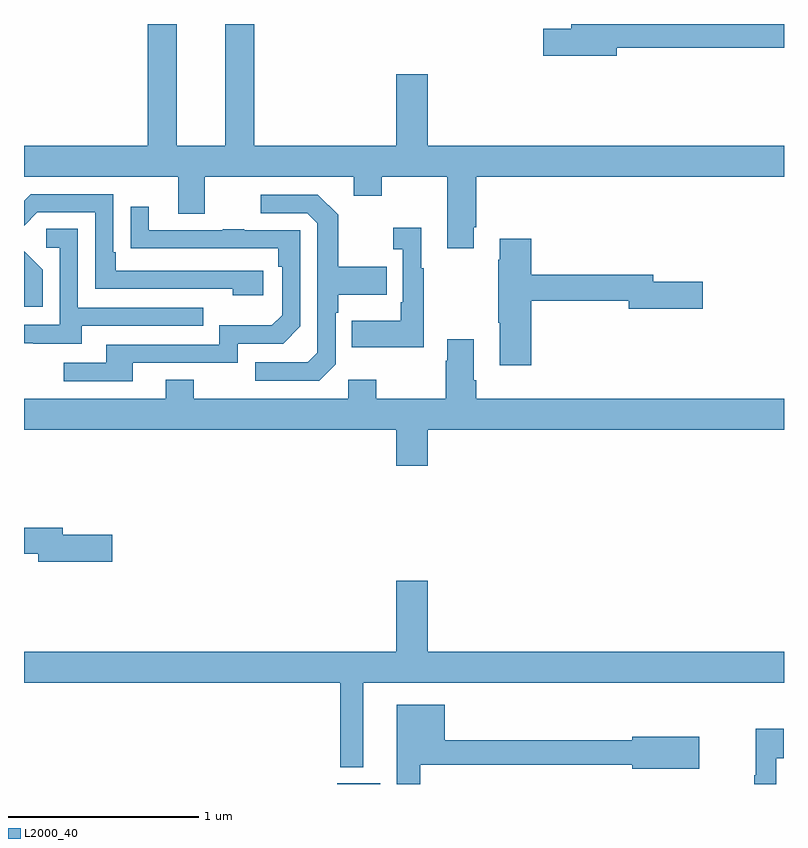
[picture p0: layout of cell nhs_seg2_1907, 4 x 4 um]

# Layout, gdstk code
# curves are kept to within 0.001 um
import gdstk
lib = gdstk.Library(unit=1e-6, precision=1e-09)
def R(c, l, rs):  # rectangles x0, y0, x1, y1
    for r in rs: c.add(gdstk.rectangle(r[:2], r[2:], *l))
def P(c, l, *ps):  # polygons
    for p in ps: c.add(gdstk.Polygon(p, *l))
L2000_40 = (2000, 40)

nhs_seg2_1907 = lib.new_cell('nhs_seg2_1907')
R(nhs_seg2_1907, L2000_40, [(212.648,617.8,212.875,617.803)])
P(nhs_seg2_1907, L2000_40, [(214.12,621.676),(215,621.676),(215,621.8),(213.881,621.8),(213.881,621.776),(213.732,621.776),(213.732,621.634),(214.12,621.634)],
  [(213.367,620.731),(213.38,620.731),(213.38,620.996),(215,620.996),(215,621.16),(213.124,621.16),(213.124,621.535),(212.96,621.535),(212.96,621.16),(212.213,621.16),(212.213,621.8),(212.06,621.8),(212.06,621.16),(211.804,621.16),(211.804,621.8),(211.652,621.8),(211.652,621.16),(211,621.16),(211,620.996),(211.811,620.996),(211.811,620.802),(211.951,620.802),(211.951,620.996),(212.735,620.996),(212.735,620.897),(212.883,620.897),(212.883,620.996),(213.227,620.996),(213.227,620.619),(213.367,620.619)],
  [(212.26,620.502),(211.483,620.502),(211.483,620.599),(211.47,620.599),(211.47,620.904),(211.035,620.904),(211,620.869),(211,620.737),(211.071,620.808),(211.374,620.808),(211.374,620.406),(212.099,620.406),(212.099,620.372),(212.26,620.372)],
  [(212.64,620.01),(212.64,620.279),(212.653,620.279),(212.653,620.375),(212.909,620.375),(212.909,620.523),(212.653,620.523),(212.653,620.795),(212.547,620.901),(212.247,620.901),(212.247,620.805),(212.49,620.805),(212.544,620.751),(212.544,620.07),(212.493,620.019),(212.217,620.019),(212.217,619.923),(212.553,619.923)],
  [(211.573,620.016),(212.124,620.016),(212.124,620.118),(212.364,620.118),(212.454,620.208),(212.454,620.715),(212.159,620.715),(212.159,620.72),(212.047,620.72),(212.047,620.715),(211.657,620.715),(211.657,620.839),(211.561,620.839),(211.561,620.62),(212.338,620.619),(212.338,620.522),(212.358,620.522),(212.358,620.268),(212.305,620.215),(212.028,620.215),(212.028,620.112),(211.433,620.112),(211.433,620.016),(211.209,620.016),(211.209,619.92),(211.573,619.92)],
  [(213.103,620.515),(213.091,620.515),(213.091,620.728),(212.943,620.728),(212.943,620.615),(212.994,620.615),(212.994,620.335),(212.982,620.335),(212.982,620.239),(212.725,620.239),(212.725,620.099),(213.103,620.099)],
  [(211.303,620.211),(211.943,620.211),(211.943,620.307),(211.284,620.307),(211.284,620.723),(211.116,620.723),(211.116,620.622),(211.188,620.622),(211.188,620.217),(211,620.217),(211,620.121),(211.049,620.121),(211.049,620.117),(211.303,620.117)],
  [(213.671,620.344),(214.184,620.344),(214.184,620.302),(214.573,620.302),(214.573,620.444),(214.312,620.444),(214.312,620.48),(213.671,620.48),(213.671,620.671),(213.503,620.671),(213.503,620.558),(213.496,620.558),(213.496,620.227),(213.503,620.227),(213.503,620.004),(213.671,620.004)],
  [(211.098,620.506),(211,620.604),(211,620.47),(211.001,620.469),(211.001,620.313),(211.098,620.313)],
  [(213.124,619.664),(215,619.664),(215,619.828),(213.38,619.828),(213.38,619.924),(213.367,619.924),(213.367,620.14),(213.227,620.14),(213.227,620.027),(213.22,620.027),(213.22,619.828),(212.853,619.828),(212.853,619.927),(212.706,619.927),(212.706,619.828),(211.893,619.828),(211.893,619.927),(211.745,619.927),(211.745,619.828),(211,619.828),(211,619.664),(212.96,619.664),(212.96,619.476),(213.124,619.476)],
  [(211.465,619.112),(211.204,619.112),(211.204,619.148),(211,619.148),(211,619.012),(211.076,619.012),(211.076,618.97),(211.465,618.97)],
  [(212.785,618.332),(215,618.332),(215,618.496),(213.124,618.496),(213.124,618.871),(212.96,618.871),(212.96,618.496),(211,618.496),(211,618.332),(212.664,618.332),(212.664,617.888),(212.785,617.888)],
  [(213.085,617.902),(214.202,617.902),(214.202,617.879),(214.555,617.879),(214.555,618.049),(214.202,618.049),(214.202,618.031),(213.214,618.031),(213.214,618.217),(212.963,618.217),(212.963,617.8),(213.085,617.8)],
  [(214.959,617.935),(214.999,617.935),(214.999,618.091),(214.851,618.091),(214.851,617.846),(214.843,617.846),(214.843,617.8),(214.959,617.8)])

lib.write_gds('nhs_seg2_1907.gds')
